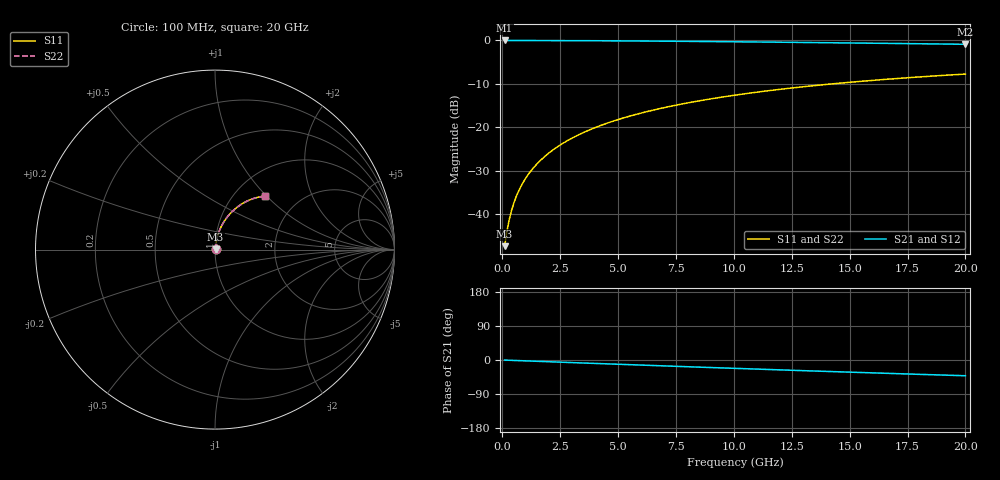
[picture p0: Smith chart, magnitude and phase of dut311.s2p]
! Touchstone file exported from HFSS 2026.1.0
!  File:  C:/ffzhzh/LocalFiles/Ansys_Project_Files/temp_train_TMRDL_311_1783003300_4048.aedt
!  Generated:  10:43:02 PM Jul  2, 2026
!  Design:  TMRDL
!  Project:  temp_train_TMRDL_311_1783003300_4048
! Variables:
!  h_bsmrdl = 2um
!  h_ox = 20um
!  h_rdl = 5um
!  h_sub = 80um
!  h_tmrdl = 4.02um
!  h_tsv = 80um
!  h_via = 3um
!  l_bsmrdl = 300um
!  l_sub = 992.6um
!  l_tmrdl = 592.6um
!  m_sub = 200um
!  pitch = 43.41um
!  r_tsv = 6um
!  s_tmrdl = 10um
!  w_bsmrdl = 18um
!  w_sub = 500um
!  w_tmrdl = 16.12um
!  x_tsv_center1 = 600.66um
!  x_tsv_center2 = 918.66um
!  x_tsv_center3 = 1527.38um
!  x_tsv_center4 = 1845.38um
!  x_tsv_center5 = 2454.1um
!  x_tsv_center6 = 2772.1um
# GHz S MA R 50.000000
! Terminal data exported
! Port[1] = TM_RDL1_1_T1
! Port[2] = TM_RDL1_1_T2
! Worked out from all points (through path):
!   200 points, 100 MHz to 20 GHz, reference 50 ohm
!   highest |S21| = -0.03 dB at 100 MHz (marker M1); lowest = -0.9 dB at 20 GHz (marker M2)
!   group delay of S21, straight-line fit = 5.78 ps
!   lowest |S11| = -47.3 dB at 100 MHz (marker M3), VSWR 1.01, Z = 50.3 + j0.269 ohm
!   |S11| at or under -10 dB: start of sweep to 14.28 GHz
!   |S22| runs from -47.3 to -7.8 dB; largest |S21 - S12| = 2.6e-15
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0.1  0.004294 38.4  0.9966 -0.2  0.9966 -0.2  0.004294 38.4
! Gamma 0 0 0 0
! Port Impedance 50 0 50 0
0.2  0.006343 56.5  0.9965 -0.5  0.9965 -0.5  0.006343 56.5
0.3  0.008673 64.9  0.9964 -0.7  0.9964 -0.7  0.008674 64.9
0.4  0.01107 69.6  0.9963 -0.9  0.9963 -0.9  0.01107 69.6
0.5  0.01349 72.5  0.9961 -1.2  0.9961 -1.2  0.01349 72.5
0.6  0.01591 74.5  0.996 -1.4  0.996 -1.4  0.01591 74.5
0.8  0.02078 77.0  0.9958 -1.8  0.9958 -1.8  0.02078 77.0
1.1  0.02814 79.0  0.9955 -2.5  0.9955 -2.5  0.02814 79.0
1.5  0.03799 80.0  0.995 -3.4  0.995 -3.4  0.03799 80.0
1.8  0.04538 80.3  0.9946 -4.1  0.9946 -4.1  0.04538 80.3
2.1  0.05277 80.2  0.9941 -4.8  0.9941 -4.8  0.05277 80.2
2.7  0.06749 79.7  0.9929 -6.1  0.9929 -6.1  0.06749 79.7
3.5  0.08693 78.5  0.9909 -7.9  0.9909 -7.9  0.08693 78.5
4.2  0.1037 77.3  0.9888 -9.5  0.9888 -9.5  0.1037 77.3
5  0.1227 75.8  0.9861 -11.3  0.9861 -11.3  0.1227 75.7
5.9  0.1436 74.0  0.9827 -13.3  0.9827 -13.3  0.1436 73.9
6.8  0.164 72.2  0.9789 -15.2  0.9789 -15.2  0.164 72.1
8.3  0.1972 69.1  0.9719 -18.4  0.9719 -18.4  0.1972 69.1
10.1  0.2353 65.5  0.9625 -22.2  0.9625 -22.2  0.2353 65.5
13.4  0.3001 59.1  0.9432 -28.9  0.9432 -28.9  0.3002 59.0
16.7  0.3582 52.8  0.9221 -35.4  0.9221 -35.4  0.3583 52.7
20  0.4093 46.8  0.9004 -41.6  0.9004 -41.6  0.4093 46.7
